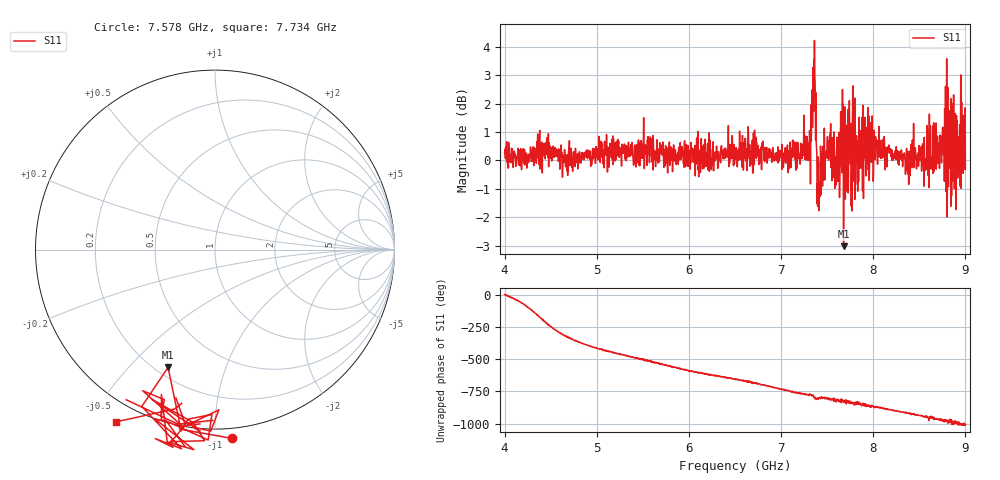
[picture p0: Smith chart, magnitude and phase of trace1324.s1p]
! Created with skrf 1.8.0 (http://scikit-rf.org).
# Hz S RI R 50.0
!freq ReS11 ImS11
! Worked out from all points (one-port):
!   1601 points, 4 GHz to 9 GHz, reference 50 ohm
!   lowest |S11| = -3.0 dB at 7.678 GHz (marker M1), VSWR 5.82, Z = 12.4 - j32.5 ohm
!   |S11| at or under -10 dB: nowhere
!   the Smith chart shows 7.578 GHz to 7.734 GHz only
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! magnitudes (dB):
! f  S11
! 4 GHz  0.3
! 4.247 GHz  0.1
! 4.469 GHz  0.6
! 4.625 GHz  -0.4
! 5.25 GHz  0.3
! 5.875 GHz  0.2
! 6.5 GHz  0.3
! 7.125 GHz  0.7
! 7.294 GHz  0.0
! 7.353 GHz  1.7
! 7.412 GHz  -1.4
! 7.512 GHz  0.7
! 7.575 GHz  1.0
! 7.65 GHz  1.3
! 7.678 GHz  -3.0
! 7.703 GHz  -0.2
! 7.75 GHz  0.8
! 7.784 GHz  -0.5
! 7.8 GHz  -1.4
! 7.809 GHz  -0.7
! 7.928 GHz  1.1
! 8.375 GHz  -0.2
! 8.438 GHz  1.3
! 8.616 GHz  1.2
! 8.8 GHz  0.3
! 8.869 GHz  -0.6
! 8.972 GHz  0.4
! 9 GHz  -0.3
